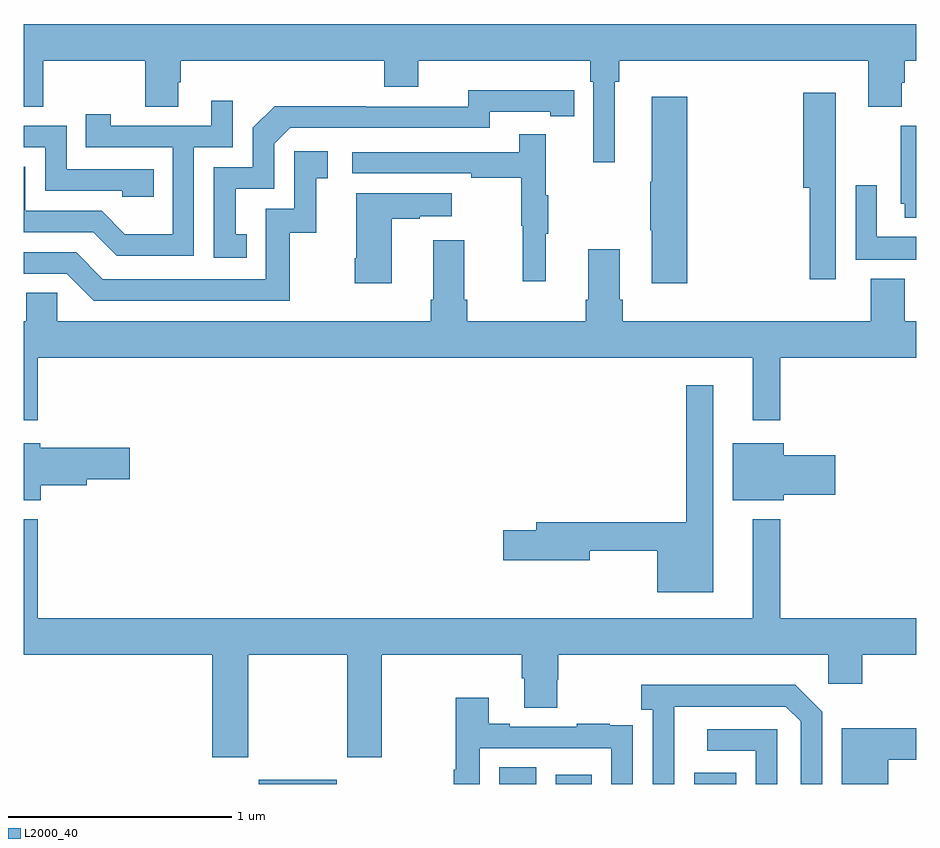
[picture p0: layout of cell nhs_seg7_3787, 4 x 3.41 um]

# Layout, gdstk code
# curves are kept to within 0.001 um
import gdstk
lib = gdstk.Library(unit=1e-6, precision=1e-09)
def R(c, l, rs):  # rectangles x0, y0, x1, y1
    for r in rs: c.add(gdstk.rectangle(r[:2], r[2:], *l))
def P(c, l, *ps):  # polygons
    for p in ps: c.add(gdstk.Polygon(p, *l))
L2000_40 = (2000, 40)

nhs_seg7_3787 = lib.new_cell('nhs_seg7_3787')
R(nhs_seg7_3787, L2000_40, [(352.052,1036,352.402,1036.018), (353.132,1036,353.296,1036.076), (353.384,1036,353.545,1036.042), (354.005,1036,354.193,1036.051)])
P(nhs_seg7_3787, L2000_40, [(353.65,1039.148),(353.669,1039.148),(353.669,1039.244),(354.785,1039.244),(354.785,1039.036),(354.937,1039.036),(354.937,1039.145),(354.95,1039.145),(354.95,1039.244),(355,1039.244),(355,1039.408),(351,1039.408),(351,1039.036),(351.087,1039.036),(351.087,1039.244),(351.544,1039.244),(351.544,1039.036),(351.691,1039.036),(351.691,1039.146),(351.704,1039.146),(351.704,1039.244),(352.616,1039.244),(352.616,1039.127),(352.768,1039.127),(352.768,1039.244),(353.54,1039.244),(353.54,1039.148),(353.553,1039.148),(353.553,1038.789),(353.65,1038.789)],
  [(351.998,1038.465),(351.949,1038.465),(351.949,1038.669),(352.122,1038.669),(352.122,1038.87),(352.194,1038.942),(353.088,1038.942),(353.088,1039.014),(353.36,1039.014),(353.36,1038.994),(353.468,1038.994),(353.468,1039.11),(352.992,1039.111),(352.992,1039.038),(352.532,1039.038),(352.532,1039.04),(352.124,1039.04),(352.026,1038.942),(352.026,1038.765),(351.852,1038.765),(351.852,1038.36),(351.998,1038.36)],
  [(354.639,1038.778),(354.64,1038.778),(354.64,1039.099),(354.494,1039.099),(354.494,1038.674),(354.523,1038.674),(354.523,1038.264),(354.639,1038.264)],
  [(353.975,1039.081),(353.816,1039.081),(353.816,1038.701),(353.809,1038.701),(353.809,1038.484),(353.816,1038.484),(353.816,1038.246),(353.975,1038.246)],
  [(351.762,1038.855),(351.936,1038.855),(351.936,1039.063),(351.839,1039.063),(351.839,1038.951),(351.388,1038.951),(351.388,1039.003),(351.277,1039.003),(351.277,1038.855),(351.666,1038.855),(351.666,1038.466),(351.452,1038.466),(351.348,1038.57),(351.006,1038.57),(351.006,1038.769),(351,1038.769),(351,1038.474),(351.311,1038.474),(351.416,1038.369),(351.762,1038.369)],
  [(355,1038.951),(354.932,1038.951),(354.932,1038.603),(354.95,1038.603),(354.95,1038.54),(355,1038.54)],
  [(351.581,1038.756),(351.192,1038.756),(351.192,1038.951),(351,1038.951),(351,1038.855),(351.096,1038.855),(351.096,1038.66),(351.441,1038.66),(351.441,1038.633),(351.581,1038.633)],
  [(353.339,1038.467),(353.35,1038.467),(353.35,1038.641),(353.339,1038.641),(353.339,1038.913),(353.221,1038.913),(353.221,1038.834),(352.473,1038.834),(352.473,1038.738),(353.005,1038.738),(353.005,1038.718),(353.229,1038.718),(353.229,1038.504),(353.236,1038.504),(353.236,1038.255),(353.339,1038.255)],
  [(352.192,1038.471),(352.31,1038.471),(352.31,1038.717),(352.363,1038.717),(352.363,1038.838),(352.212,1038.838),(352.212,1038.579),(352.083,1038.579),(352.083,1038.264),(351.354,1038.264),(351.234,1038.384),(351,1038.384),(351,1038.288),(351.192,1038.288),(351.312,1038.168),(352.192,1038.168)],
  [(355,1038.454),(354.825,1038.454),(354.825,1038.685),(354.729,1038.685),(354.729,1038.35),(355,1038.35)],
  [(352.648,1038.535),(352.775,1038.535),(352.775,1038.545),(352.918,1038.545),(352.918,1038.649),(352.49,1038.649),(352.49,1038.358),(352.483,1038.358),(352.483,1038.246),(352.648,1038.246)],
  [(351.061,1037.912),(354.269,1037.912),(354.269,1037.631),(354.391,1037.631),(354.391,1037.912),(355,1037.912),(355,1038.076),(354.95,1038.076),(354.95,1038.265),(354.797,1038.265),(354.797,1038.076),(353.684,1038.076),(353.684,1038.172),(353.671,1038.172),(353.671,1038.397),(353.531,1038.397),(353.531,1038.172),(353.519,1038.172),(353.519,1038.076),(352.988,1038.076),(352.988,1038.172),(352.975,1038.172),(352.975,1038.439),(352.835,1038.439),(352.835,1038.172),(352.823,1038.172),(352.823,1038.076),(351.15,1038.076),(351.15,1038.203),(351.011,1038.203),(351.011,1038.076),(351,1038.076),(351,1037.631),(351.061,1037.631)],
  [(354.091,1037.788),(353.97,1037.788),(353.97,1037.174),(353.297,1037.174),(353.297,1037.138),(353.148,1037.138),(353.148,1037.003),(353.536,1037.003),(353.536,1037.046),(353.84,1037.046),(353.84,1036.859),(354.091,1036.859)],
  [(351.076,1037.339),(351.282,1037.339),(351.282,1037.366),(351.475,1037.366),(351.475,1037.507),(351.072,1037.507),(351.072,1037.527),(351,1037.527),(351,1037.273),(351.076,1037.273)],
  [(354.406,1037.297),(354.637,1037.297),(354.637,1037.475),(354.406,1037.475),(354.406,1037.527),(354.179,1037.527),(354.179,1037.273),(354.406,1037.273)],
  [(351.061,1037.188),(351,1037.188),(351,1036.58),(351.845,1036.58),(351.845,1036.119),(352.005,1036.119),(352.005,1036.58),(352.45,1036.58),(352.45,1036.119),(352.605,1036.119),(352.605,1036.58),(353.231,1036.58),(353.231,1036.474),(353.243,1036.474),(353.243,1036.342),(353.391,1036.342),(353.391,1036.467),(353.396,1036.467),(353.396,1036.58),(354.606,1036.58),(354.606,1036.449),(354.758,1036.449),(354.758,1036.58),(355,1036.58),(355,1036.744),(354.391,1036.744),(354.391,1037.188),(354.269,1037.188),(354.269,1036.744),(351.061,1036.744)],
  [(353.916,1036.147),(353.917,1036.347),(354.417,1036.347),(354.483,1036.281),(354.483,1036),(354.579,1036),(354.579,1036.323),(354.458,1036.444),(353.769,1036.444),(353.769,1036.334),(353.82,1036.334),(353.82,1036),(353.916,1036)],
  [(353.043,1036.161),(353.634,1036.161),(353.634,1036),(353.73,1036),(353.73,1036.154),(353.729,1036.154),(353.729,1036.263),(353.627,1036.263),(353.627,1036.27),(353.479,1036.27),(353.479,1036.257),(353.179,1036.257),(353.179,1036.27),(353.083,1036.27),(353.083,1036.387),(352.935,1036.387),(352.935,1036.064),(352.927,1036.064),(352.927,1036),(353.043,1036)],
  [(354.875,1036.109),(355,1036.109),(355,1036.251),(354.668,1036.251),(354.668,1036),(354.875,1036)],
  [(354.378,1036.245),(354.063,1036.245),(354.063,1036.149),(354.282,1036.149),(354.282,1036),(354.378,1036)])

lib.write_gds('nhs_seg7_3787.gds')
